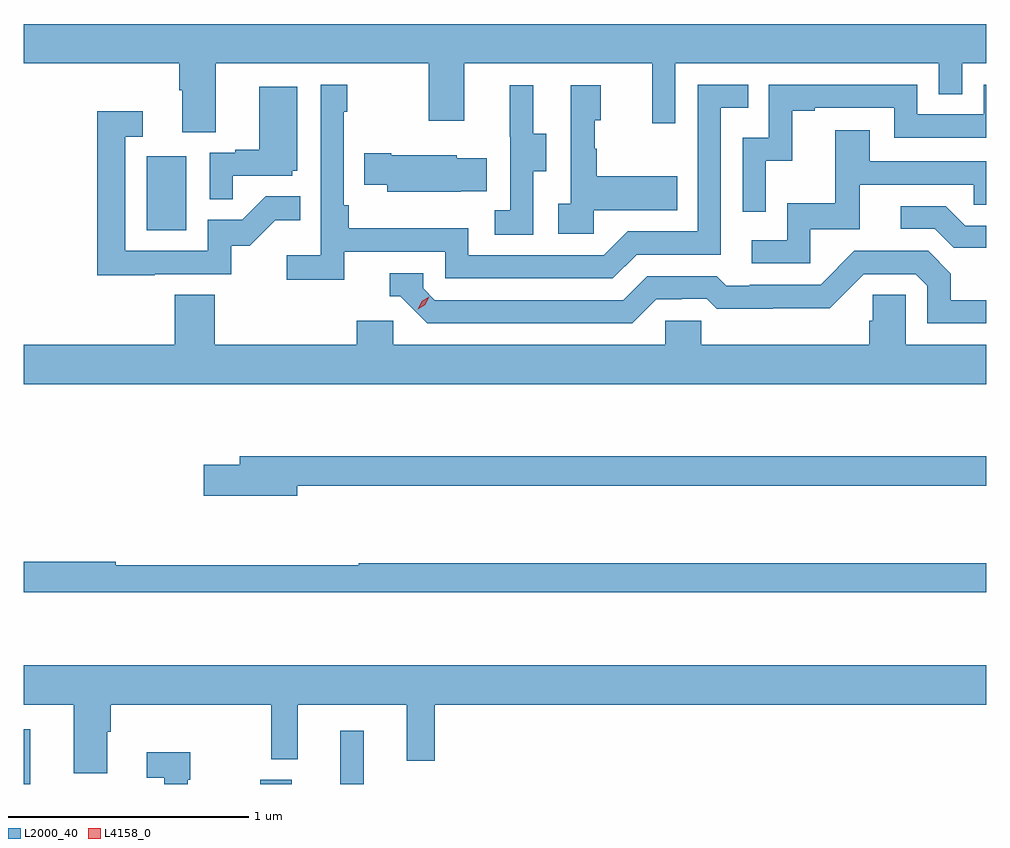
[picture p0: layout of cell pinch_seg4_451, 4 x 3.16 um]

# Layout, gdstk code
import gdstk
lib = gdstk.Library(unit=1e-6, precision=1e-09)
def R(c, l, rs):  # rectangles x0, y0, x1, y1
    for r in rs: c.add(gdstk.rectangle(r[:2], r[2:], *l))
def P(c, l, *ps):  # polygons
    for p in ps: c.add(gdstk.Polygon(p, *l))
L2000_40 = (2000, 40)
L4158_0 = (4158, 0)

pinch_seg4_451 = lib.new_cell('pinch_seg4_451')
R(pinch_seg4_451, L2000_40, [(898.963,779.174,898.99,779.401), (899.947,779.174,900.076,779.191), (900.279,779.174,900.376,779.395), (899.474,781.476,899.638,781.783)])
P(pinch_seg4_451, L2000_40, [(898.963,782.168),(899.609,782.168),(899.609,782.056),(899.621,782.056),(899.621,781.882),(899.761,781.882),(899.761,782.168),(900.646,782.168),(900.646,781.929),(900.793,781.929),(900.793,782.168),(901.574,782.168),(901.574,781.92),(901.671,781.92),(901.671,782.168),(902.766,782.168),(902.766,782.041),(902.862,782.041),(902.862,782.168),(902.963,782.168),(902.963,782.332),(898.963,782.332)],
  [(900.296,781.386),(900.714,781.386),(900.714,781.275),(901.411,781.275),(901.51,781.374),(901.86,781.374),(901.86,781.983),(901.973,781.983),(901.973,782.079),(901.764,782.079),(901.764,781.47),(901.473,781.47),(901.374,781.371),(900.81,781.371),(900.81,781.483),(900.314,781.483),(900.314,781.579),(900.294,781.579),(900.294,781.967),(900.307,781.967),(900.307,782.08),(900.198,782.08),(900.198,781.372),(900.057,781.372),(900.057,781.27),(900.296,781.27)],
  [(902.046,781.763),(902.156,781.763),(902.156,781.971),(902.251,781.971),(902.251,781.983),(902.58,781.983),(902.58,781.86),(902.963,781.86),(902.963,782.079),(902.952,782.079),(902.952,781.956),(902.676,781.956),(902.676,782.079),(902.058,782.079),(902.058,781.86),(901.95,781.86),(901.95,781.551),(902.046,781.551)],
  [(901.332,781.559),(901.679,781.559),(901.679,781.699),(901.345,781.699),(901.345,781.814),(901.335,781.814),(901.335,781.932),(901.36,781.932),(901.36,782.077),(901.236,782.077),(901.236,781.586),(901.185,781.586),(901.185,781.461),(901.332,781.461)],
  [(901.08,781.72),(901.135,781.72),(901.135,781.875),(901.081,781.875),(901.081,782.077),(900.983,782.077),(900.983,781.863),(900.984,781.863),(900.984,781.559),(900.921,781.559),(900.921,781.456),(901.08,781.456)],
  [(899.831,781.701),(900.078,781.701),(900.078,781.722),(900.1,781.722),(900.1,782.071),(899.942,782.071),(899.942,781.81),(899.843,781.81),(899.843,781.797),(899.736,781.797),(899.736,781.603),(899.831,781.603)],
  [(899.507,781.293),(899.826,781.293),(899.826,781.41),(899.902,781.41),(900.009,781.517),(900.113,781.517),(900.113,781.616),(899.969,781.616),(899.871,781.518),(899.727,781.518),(899.727,781.389),(899.385,781.389),(899.385,781.863),(899.458,781.863),(899.458,781.969),(899.269,781.969),(899.269,781.288),(899.507,781.288)],
  [(902.232,781.479),(902.437,781.479),(902.437,781.665),(902.911,781.665),(902.911,781.581),(902.963,781.581),(902.963,781.761),(902.479,781.761),(902.479,781.891),(902.335,781.891),(902.335,781.588),(902.136,781.588),(902.136,781.434),(901.989,781.434),(901.989,781.338),(902.232,781.338)],
  [(900.779,781.637),(900.887,781.637),(900.887,781.774),(900.762,781.774),(900.762,781.786),(900.49,781.786),(900.49,781.794),(900.379,781.794),(900.379,781.664),(900.473,781.664),(900.473,781.634),(900.779,781.634)],
  [(902.963,781.494),(902.875,781.494),(902.794,781.575),(902.607,781.575),(902.607,781.482),(902.748,781.482),(902.828,781.402),(902.963,781.402)],
  [(901.591,781.188),(901.698,781.188),(901.698,781.191),(901.801,781.191),(901.843,781.149),(902.076,781.149),(902.076,781.151),(902.312,781.151),(902.454,781.293),(902.67,781.293),(902.718,781.245),(902.718,781.089),(902.963,781.089),(902.963,781.185),(902.815,781.185),(902.815,781.295),(902.721,781.389),(902.415,781.389),(902.274,781.248),(901.981,781.248),(901.981,781.245),(901.882,781.245),(901.843,781.284),(901.554,781.284),(901.455,781.185),(900.672,781.185),(900.624,781.233),(900.624,781.296),(900.485,781.296),(900.485,781.2),(900.528,781.2),(900.639,781.089),(901.492,781.089)],
  [(902.963,781),(902.628,781),(902.628,781.208),(902.491,781.208),(902.491,781.098),(902.477,781.098),(902.477,781),(901.779,781),(901.779,781.098),(901.629,781.098),(901.629,781),(900.498,781),(900.498,781.098),(900.347,781.098),(900.347,781),(899.756,781),(899.756,781.208),(899.591,781.208),(899.591,781),(898.963,781),(898.963,780.836),(902.963,780.836)],
  [(900.1,780.414),(902.963,780.414),(902.963,780.535),(899.861,780.535),(899.861,780.501),(899.712,780.501),(899.712,780.371),(900.1,780.371)],
  [(902.963,780.091),(900.355,780.091),(900.355,780.083),(899.345,780.083),(899.345,780.098),(898.963,780.098),(898.963,779.97),(902.963,779.97)],
  [(899.311,779.392),(899.324,779.392),(899.324,779.504),(899.991,779.504),(899.991,779.276),(900.101,779.276),(900.101,779.504),(900.554,779.504),(900.554,779.271),(900.671,779.271),(900.671,779.504),(902.963,779.504),(902.963,779.668),(898.963,779.668),(898.963,779.504),(899.171,779.504),(899.171,779.218),(899.311,779.218)],
  [(899.644,779.192),(899.656,779.192),(899.656,779.305),(899.475,779.305),(899.475,779.199),(899.547,779.199),(899.547,779.174),(899.644,779.174)])
P(pinch_seg4_451, L4158_0, [(900.601,781.147),(900.601,781.147),(900.618,781.179),(900.649,781.198),(900.649,781.198),(900.649,781.198),(900.632,781.166),(900.601,781.147)])

lib.write_gds('pinch_seg4_451.gds')
